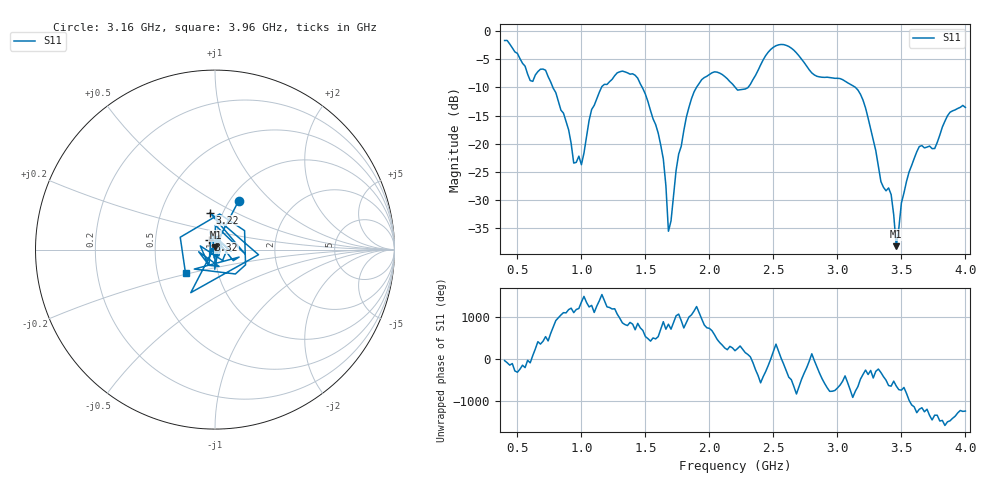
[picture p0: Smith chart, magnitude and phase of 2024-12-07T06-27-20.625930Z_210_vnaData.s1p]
!Created with skrf (http://scikit-rf.org).
# Hz S RI R 50.0
!freq ReS11 ImS11
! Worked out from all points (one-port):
!   181 points, 400 MHz to 4 GHz, reference 50 ohm
!   lowest |S11| = -38.3 dB at 3.46 GHz (marker M1), VSWR 1.02, Z = 50.2 + j1.21 ohm
!   |S11| at or under -10 dB: 777.4 MHz to 1.157 GHz (379.3 MHz wide, 39.2 % of centre); 1.476 GHz to 1.899 GHz (423.5 MHz wide, 25.1 % of centre); 3.141 GHz to end of sweep (the widest 3 of 4)
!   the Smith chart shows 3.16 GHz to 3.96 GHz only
!   S11 on the Smith chart (normalised r, x): 3.16 GHz: 1.10, +0.65; 3.22 GHz: 0.87, +0.37; 3.32 GHz: 0.93, +0.10; 3.96 GHz: 0.70, -0.19
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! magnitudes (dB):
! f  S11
! 400 MHz  -1.6
! 600 MHz  -8.8
! 720 MHz  -6.9
! 860 MHz  -14.6
! 940 MHz  -23.5
! 1 GHz  -23.8
! 1.08 GHz  -13.9
! 1.3 GHz  -7.2
! 1.44 GHz  -8.3
! 1.58 GHz  -16.6
! 1.64 GHz  -22.7
! 1.68 GHz  -35.6
! 1.76 GHz  -21.9
! 1.86 GHz  -12.0
! 1.94 GHz  -8.6
! 2.2 GHz  -9.9
! 2.3 GHz  -10.1
! 2.5 GHz  -2.8
! 2.66 GHz  -3.4
! 3.1 GHz  -9.4
! 3.16 GHz  -10.5
! 3.22 GHz  -13.7
! 3.32 GHz  -24.1
! 3.42 GHz  -29.1
! 3.46 GHz  -38.3
! 3.56 GHz  -25.0
! 3.96 GHz  -13.5
! 4 GHz  -13.6
